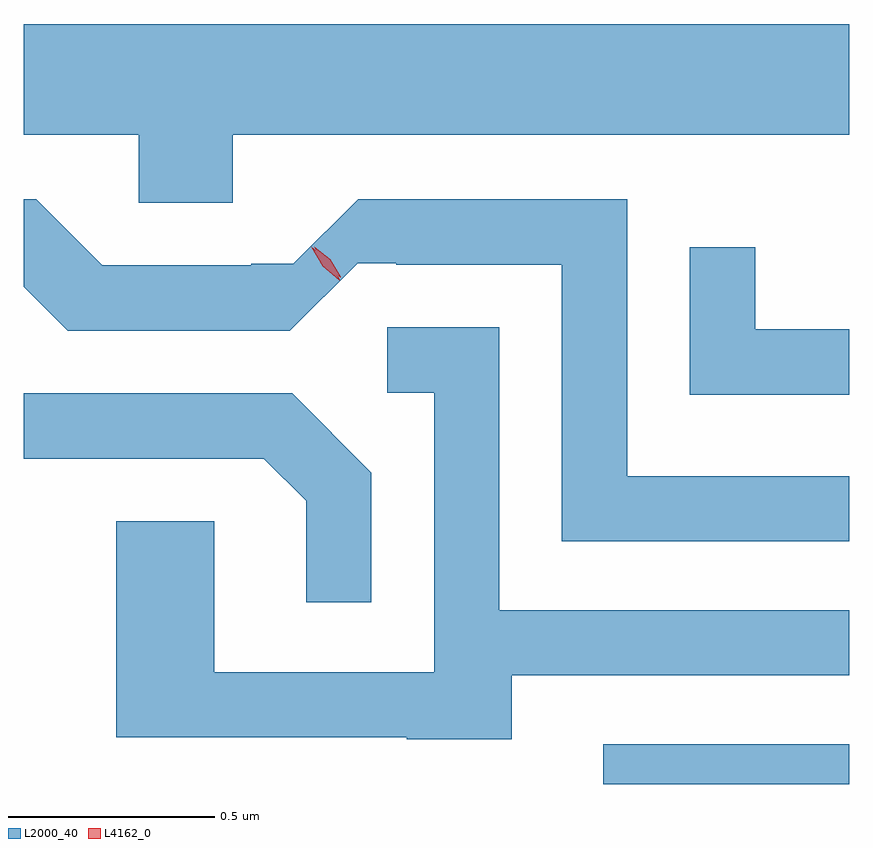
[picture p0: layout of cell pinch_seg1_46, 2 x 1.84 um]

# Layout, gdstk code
import gdstk
lib = gdstk.Library(unit=1e-6, precision=1e-09)
def R(c, l, rs):  # rectangles x0, y0, x1, y1
    for r in rs: c.add(gdstk.rectangle(r[:2], r[2:], *l))
def P(c, l, *ps):  # polygons
    for p in ps: c.add(gdstk.Polygon(p, *l))
L2000_40 = (2000, 40)
L4162_0 = (4162, 0)

pinch_seg1_46 = lib.new_cell('pinch_seg1_46')
R(pinch_seg1_46, L2000_40, [(1100.531,922.423,1101.127,922.519)])
P(pinch_seg1_46, L2000_40, [(1099.634,923.996),(1101.127,923.996),(1101.127,924.264),(1099.127,924.264),(1099.127,923.996),(1099.406,923.996),(1099.406,923.831),(1099.634,923.831)],
  [(1101.127,923.169),(1100.589,923.169),(1100.589,923.839),(1099.937,923.839),(1099.78,923.683),(1099.678,923.683),(1099.678,923.679),(1099.317,923.679),(1099.157,923.839),(1099.127,923.839),(1099.127,923.628),(1099.234,923.521),(1099.772,923.521),(1099.936,923.685),(1100.03,923.685),(1100.03,923.681),(1100.431,923.681),(1100.431,923.011),(1101.127,923.011)],
  [(1101.127,923.524),(1100.899,923.524),(1100.899,923.723),(1100.741,923.723),(1100.741,923.366),(1101.127,923.366)],
  [(1100.309,922.686),(1101.127,922.686),(1101.127,922.844),(1100.279,922.844),(1100.279,923.529),(1100.008,923.529),(1100.008,923.371),(1100.121,923.371),(1100.121,922.694),(1099.589,922.694),(1099.589,923.059),(1099.351,923.059),(1099.351,922.536),(1100.055,922.536),(1100.055,922.531),(1100.309,922.531)],
  [(1099.969,923.177),(1099.777,923.369),(1099.127,923.369),(1099.127,923.211),(1099.709,923.211),(1099.811,923.109),(1099.811,922.863),(1099.969,922.863)])
P(pinch_seg1_46, L4162_0, [(1099.892,923.643),(1099.851,923.677),(1099.823,923.724),(1099.823,923.724),(1099.824,923.724),(1099.866,923.69),(1099.893,923.644),(1099.893,923.643)],
  [(1099.894,923.651),(1099.855,923.681),(1099.831,923.724),(1099.831,923.724),(1099.831,923.724),(1099.87,923.694),(1099.895,923.652),(1099.895,923.651)])

lib.write_gds('pinch_seg1_46.gds')
